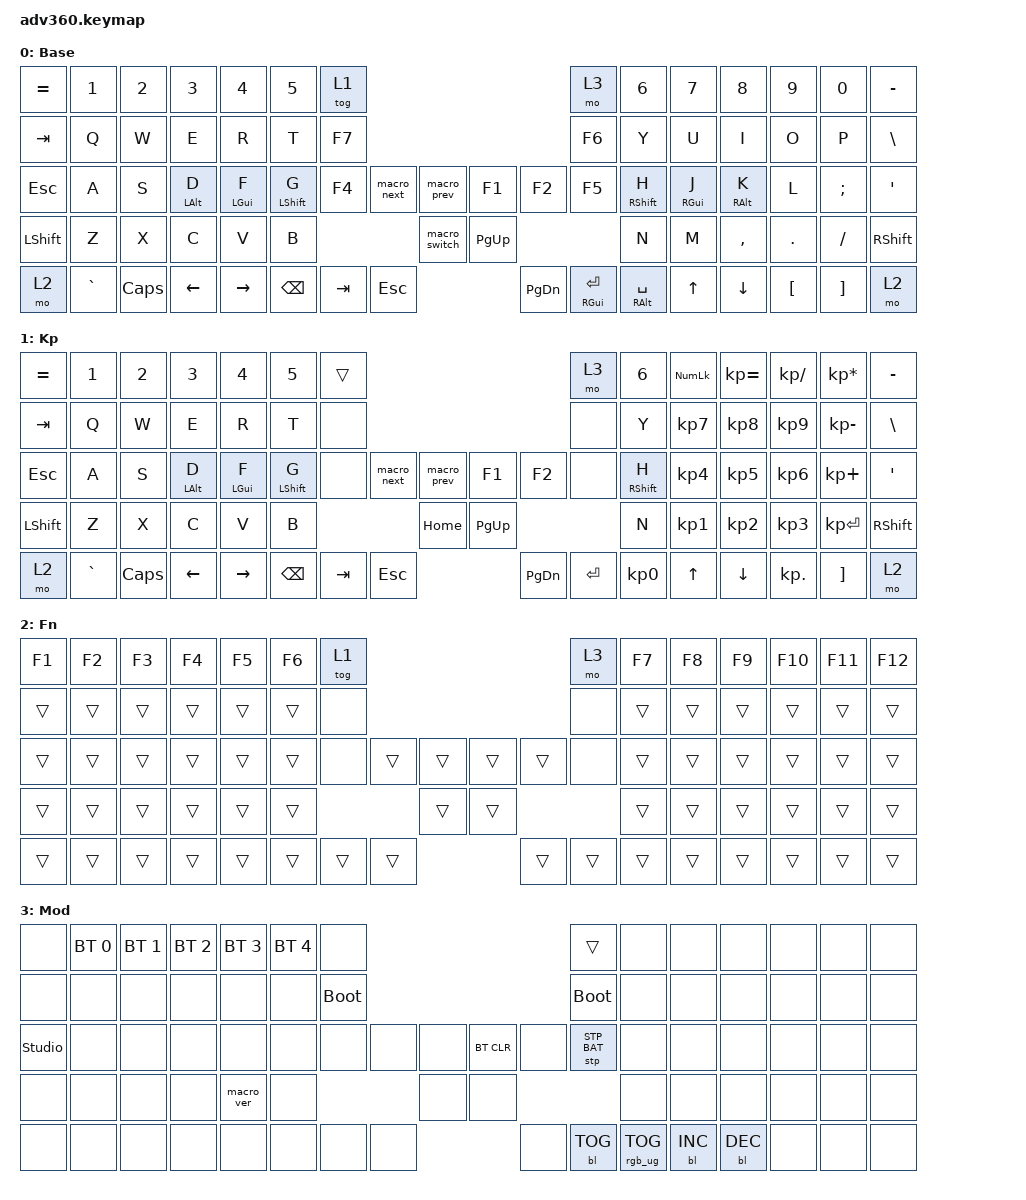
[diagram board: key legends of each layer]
#include <behaviors.dtsi>
#include <dt-bindings/zmk/keys.h>
#include <dt-bindings/zmk/bt.h>
#include <dt-bindings/zmk/rgb.h>
#include <dt-bindings/zmk/stp.h>
#include <dt-bindings/zmk/backlight.h>
#include <dt-bindings/zmk/pointing.h>

#define KEYS_LEFT 0 1 2 3 4 5 6 \
                  14 15 16 17 18 19 20 \
                  28 29 30 31 32 33 34 \
                  46 47 48 49 50 51 \
                  66 67 68 69 70

#define KEYS_RIGHT 7 8 9 10 11 12 13 \
                   21 22 23 24 25 26 27 \
                   39 40 41 42 43 44 45 \
                   60 61 62 63 64 65 \
                   77 78 79 80 81

#define THUMBS_LEFT 35 36 54 71 72 73

#define THUMBS_RIGHT 37 38 57 74 75 76

#define THUMBS THUMBS_LEFT THUMBS_RIGHT

/ {
    behaviors {
      #include "macros.dtsi"
      #include "version.dtsi"

      hm: homerow_mods {
          compatible = "zmk,behavior-hold-tap";
          label = "HOMEROW_MODS";
          #binding-cells = <2>;
          tapping-term-ms = <185>;
          quick_tap_ms = <500>;
          flavor = "balanced";
          bindings = <&kp>, <&kp>;
      };

      hm_l: homerow_mods_left {
          compatible = "zmk,behavior-hold-tap";
          label = "HOMEROW_MODS_LEFT";
          #binding-cells = <2>;
          tapping-term-ms = <185>;
          quick_tap_ms = <500>;
          flavor = "tap-preferred";
          bindings = <&kp>, <&kp>;
          hold-trigger-key-positions = <KEYS_RIGHT THUMBS>;
      };

      hm_r: homerow_mods_right {
          compatible = "zmk,behavior-hold-tap";
          label = "HOMEROW_MODS_RIGHT";
          #binding-cells = <2>;
          tapping-term-ms = <185>;
          quick_tap_ms = <500>;
          flavor = "tap-preferred";
          bindings = <&kp>, <&kp>;
          hold-trigger-key-positions = <KEYS_LEFT THUMBS>;
      };
    };

  keymap {
    compatible = "zmk,keymap";

    default_layer {
      display-name = "Base";
      bindings = <
       &kp EQUAL &kp N1    &kp N2   &kp N3            &kp N4        &kp N5 &tog 1                                                           &mo 3 &kp N6                  &kp N7        &kp N8            &kp N9   &kp N0   &kp MINUS
        &kp TAB   &kp Q     &kp W    &kp E             &kp R         &kp T  &kp F7                                                            &kp F6 &kp Y                   &kp U         &kp I             &kp O    &kp P    &kp BSLH
        &kp ESC   &kp A     &kp S    &hm_l LEFT_ALT D  &hm_l LGUI F  &hm_l LEFT_SHIFT G  &kp F4  &macro_next &macro_prev &kp F1    &kp F2      &kp F5 &hm_r RIGHT_SHIFT H     &hm_r RGUI J  &hm_r RIGHT_ALT K &kp L    &kp SEMI &kp SQT
        &kp LSHFT &kp Z     &kp X    &kp C             &kp V         &kp B                               &macro_switch &kp PG_UP                           &kp N                   &kp M         &kp COMMA         &kp DOT  &kp FSLH &kp RSHFT
        &mo 2     &kp GRAVE &kp CAPS &kp LEFT          &kp RIGHT                           &kp BSPC &kp TAB   &kp ESCAPE  &kp PG_DN &hm_r RGUI ENTER &hm_r RIGHT_ALT SPACE              &kp UP                  &kp DOWN      &kp LBKT          &kp RBKT &mo 2
      >;
    };

    keypad {
      display-name = "Kp";
      bindings = <
        &kp EQUAL &kp N1    &kp N2   &kp N3            &kp N4        &kp N5 &trans                                                           &mo 3 &kp N6                  &kp KP_NUM    &kp KP_EQUAL      &kp KP_DIVIDE &kp KP_MULTIPLY &kp MINUS
        &kp TAB   &kp Q     &kp W    &kp E             &kp R         &kp T  &none                                                            &none &kp Y                   &kp KP_N7     &kp KP_N8         &kp KP_N9     &kp KP_MINUS    &kp BSLH
        &kp ESC   &kp A     &kp S    &hm_l LEFT_ALT D  &hm_l LGUI F  &hm_l LEFT_SHIFT G  &none  &macro_next &macro_prev &kp F1    &kp F2      &none &hm_r RIGHT_SHIFT H     &kp KP_N4     &kp KP_N5         &kp KP_N6     &kp KP_PLUS     &kp SQT
        &kp LSHFT &kp Z     &kp X    &kp C             &kp V         &kp B                               &kp HOME &kp PG_UP                           &kp N                   &kp KP_N1     &kp KP_N2         &kp KP_N3     &kp KP_ENTER    &kp RSHFT
        &mo 2     &kp GRAVE &kp CAPS &kp LEFT          &kp RIGHT                           &kp BSPC &kp TAB   &kp ESCAPE  &kp PG_DN &kp ENTER &kp KP_N0              &kp UP                  &kp DOWN      &kp KP_DOT        &kp RBKT      &mo 2
      >;
    };

    fn {
      display-name = "Fn";
      bindings = <
        &kp F1 &kp F2 &kp F3 &kp F4 &kp F5 &kp F6 &tog 1                                           &mo 3 &kp F7 &kp F8 &kp F9 &kp F10 &kp F11 &kp F12
        &trans &trans &trans &trans &trans &trans  &none                                           &none &trans &trans &trans &trans  &trans  &trans
        &trans &trans &trans &trans &trans &trans  &none        &trans &trans &trans &trans        &none &trans &trans &trans &trans  &trans  &trans
        &trans &trans &trans &trans &trans &trans                      &trans &trans                     &trans &trans &trans &trans  &trans  &trans
        &trans &trans &trans &trans &trans               &trans &trans &trans &trans &trans &trans              &trans &trans &trans  &trans  &trans
      >;
    };

    mod {
      display-name = "Mod";
      bindings = <
        &none &bt BT_SEL 0 &bt BT_SEL 1 &bt BT_SEL 2 &bt BT_SEL 3 &bt BT_SEL 4 &none                                                                     &trans                 &none        &none        &none        &none &none &none
        &none &none        &none        &none        &none        &none        &bootloader                                                               &bootloader            &none        &none        &none        &none &none &none
        &studio_unlock &none        &none        &none        &none        &none        &none                   &none &none &bt BT_CLR &none                      &stp STP_BAT &none        &none        &none        &none &none &none
        &none &none        &none        &none        &macro_ver   &none                                      &none &none                                                        &none        &none        &none        &none &none &none
        &none &none        &none        &none        &none                                       &none &none &none &none      &bl BL_TOG &rgb_ug RGB_TOG                                     &bl BL_INC   &bl BL_DEC   &none &none &none
      >;
    };

    extra1 {
      display-name = "Red";
      status = "reserved";
    };

    extra2 {
      display-name = "Purple";
      status = "reserved";
    };

    extra3 {
      display-name = "Cyan";
      status = "reserved";
    };

    extra4 {
      display-name = "Yellow";
      status = "reserved";
    };
  };
};
